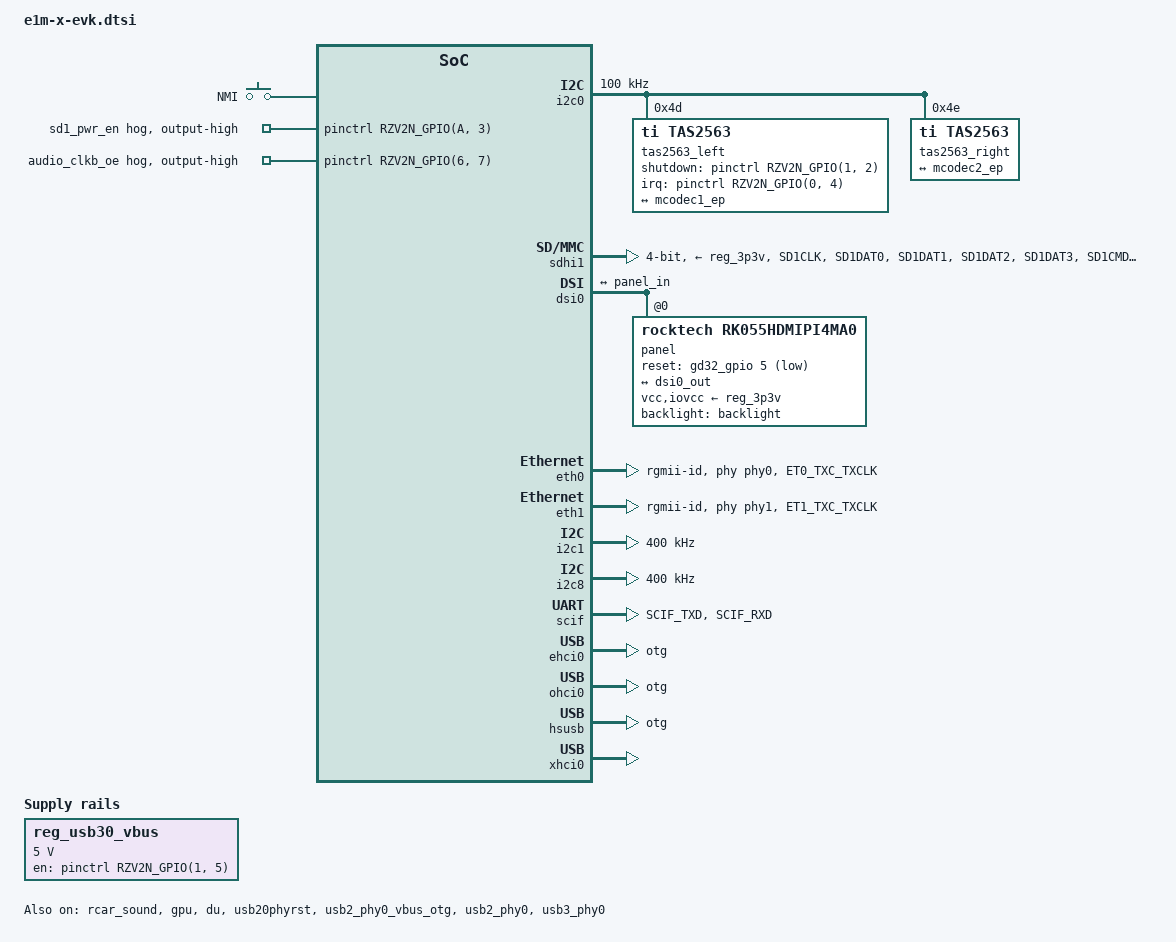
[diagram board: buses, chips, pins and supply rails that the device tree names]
// SPDX-License-Identifier: (GPL-2.0-only OR BSD-2-Clause)
/*
 * ALP E1M-X-EVK carrier (45x65) — peripherals on the baseboard.
 *
 * Composes with a SoM dtsi: a board dts includes the SoC dtsi, then the
 * SoM dtsi (e1m-v2n-som.dtsi), then this carrier dtsi. Because we build
 * up from the SoC dtsi and only ENABLE what the carrier populates, there
 * is no "disable the EVK's nodes" pile — the Renesas EVK's HDMI bridge,
 * OV5645 cameras, DA7212 codec and RAA215300 PMIC simply aren't enabled.
 *
 * Ported from the Renesas RZ/V2N EVK reference dts (kernel SHA 6717c06).
 * STATUS: UNVALIDATED through dtc/bitbake.
 *
 * TODO (carrier features to port once exercised on the bench):
 *   - Audio: LANDED below (2026-09-26) -- TAS2563 smart-amp pair on I2C0
 *     @0x4D/0x4E, fed from I2S0 (SSIU1/SSI1 + SSIU2/SSI2) through the
 *     TMUX1574 path-mux.  Carrier-side facts (addresses, channel, mux +
 *     shutdown/fault GPIOs, MCLK) are in metadata/boards/e1m-x-evk.yaml's
 *     `audio:` block.
 *
 *     The four SoC-side values the previous note called DATA-GATED are
 *     now confirmed by reading the actual linux-renesas 6.1.141-cip43
 *     kernel-source tree at the SHA this carrier was ported from
 *     (6717c06):
 *       - binding: `rcar_sound` IS correct for r9a09g056 -- SoC dtsi
 *         `compatible = "renesas,rcar_sound-r9a09g056"`, reg-names
 *         "scu"/"adg"/"ssiu"/"ssi"/"audmapp"/"spdif", node label
 *         `rcar_sound`, SSI channels `ssi0`..`ssi9` (arch/arm64/boot/dts/
 *         renesas/r9a09g056.dtsi).
 *       - PFC function: the stock Renesas RZ/V2N EVK reference dts
 *         (r9a09g056n48-rzv2n-evk.dts, same SHA) pinmuxes its own SSI3/4
 *         + AUDIO_CLKB/C pads as `RZV2N_PORT_PINMUX(port, pin, 7)`, where
 *         (port, pin) is exactly this repo's "P<port><pin>" notation
 *         (e.g. SSIU3_SSI3_SCK/P12 -> RZV2N_PORT_PINMUX(1, 2, 7); AUDIO_
 *         CLKB/P10 -> RZV2N_PORT_PINMUX(1, 0, 7) -- both confirmed
 *         against that dts verbatim). metadata/pinmux/v2n.yaml's e1m_pad
 *         "TBD" column is a separate, still-open gap (the E1M-X module
 *         edge-pad silkscreen crosswalk) -- it does not block writing
 *         kernel pinctrl, which only needs the SoC-side P<port><pin>.
 *       - MCLK source + rate: the same reference dts sets
 *         `&audio_clkb { clock-frequency = <24576000>; };` for the
 *         identical 5L35023B 24.576 MHz feed -- see
 *         metadata/boards/e1m-x-evk.yaml's `audio.mclk` note.
 *       - the SoM-preset crosswalk (metadata/e1m_modules/E1M-V2N103.yaml)
 *         already ties E1M-X logical I2S0/I2S1 to SSIU1+SSIU2 /
 *         SSIU3+SSIU4 respectively; that mapping is unchanged by this
 *         landing (its `driver_status: none` there describes the #655
 *         auto-generation pipeline, not this hand-authored node).
 *
 *     Two TAS2563 MONO amps share one physical I2S bus (one SCLK/WS/SDATA
 *     set), so the card is one audio-graph-card2 `multi` link
 *     (sound/soc/generic/audio-graph-card2.c, built in on this kernel):
 *     ONE cpu port (rcar_sound SSI2 data, SSI1 SCK/WS) fanned out to TWO codec ports in a
 *     single dai_link, so both amps get the same hw_params, format and
 *     DAPM power sequencing. Bench-verified on E1M-V2M103 (2026-09-27):
 *     both amps' PWR_CTL go software-shutdown -> active with the stream
 *     and back afterwards. Why not simple-audio-card: simple-card.c counts
 *     exactly one codec per link and parses a second `codec@N` sibling as
 *     an extra CPU node (a bogus dai_link with a NULL rtd->pcm, which
 *     oopses in dapm_connect_dai_pair()); and `aux-devs` gives the second
 *     amp no dai_link at all, so it never receives hw_params,
 *     set_tdm_slot or the DAC DAPM path.

 *     Each codec endpoint also carries `dai-tdm-slot-*`: rsnd fixes the
 *     SSI system word length at 32 bits, but the TAS2563 only learns its
 *     slot length (TDM_CFG2.RX_SLEN) from set_tdm_slot, so without it the
 *     amp decodes 16-bit slots and the right channel reads the empty low
 *     half of the left slot. The tas2562 driver rejects a zero tx mask,
 *     hence the explicit masks. Which slot an amp actually plays is the
 *     "Left/Right ASI1 Sel" mixer control (Left / Right respectively),
 *     not DT.
 *
 *     shutdown-gpios/interrupts are wired on the LEFT (U27) node only --
 *     board.yaml documents SD_N/IRQ_N as ONE shared net across both
 *     chips, not per-amp, so only one Linux consumer may claim the GPIO
 *     line. Because SD_N therefore does not reset the amps across a warm
 *     reboot, meta-alp-sdk patch 0009 makes the tas2562 driver
 *     software-reset each amp at component probe. The IRQ_N `interrupts`
 *     property documents the wiring only: the 6.1 tas2562 driver never
 *     requests an IRQ, so amp faults are not signalled to Linux.
 *
 *     I2C-address ownership (issue #2331 item 1): landing the kernel
 *     `ti,tas2563` codec nodes below means the kernel binds
 *     i2c0@0x4d/0x4e for ALSA -- the SDK's own userspace chips/tas2563
 *     driver (reachable over alp_i2c_* on this same bus) must not ALSO
 *     be wired up against this board/SoM combination, or the two would
 *     race the same registers. Resolved as a NON-FIGHTING ownership
 *     contract rather than a PACKAGECONFIG lock-out: tas2563_init()
 *     already propagates its bus call's status verbatim (#2077), so
 *     when a kernel driver holds one of these addresses,
 *     `ioctl(I2C_SLAVE)` on `/dev/i2c-0` fails `EBUSY` before any
 *     transaction is even attempted, and that surfaces as
 *     `ALP_ERR_BUSY` out of `tas2563_init()` -- see the @retval
 *     ALP_ERR_BUSY note on that function in
 *     `include/alp/chips/tas2563.h`. A future userspace-driver
 *     enablement on e1m-v2n101/e1m-v2m101 competing with this DT node
 *     gets a clear, distinct refusal rather than a silent register
 *     race or a misleading ALP_ERR_NOT_READY ("no chip present").  No
 *     live conflict today either way (this DT node is the only bound
 *     client at these addresses, and the driver does not fight it).
 *
 *     Kernel config: the mainline ASoC `tas2562` driver covers the
 *     TAS2563; CONFIG_SND_SOC_RCAR is already `=y` in this BSP's
 *     defconfig. tas2563-audio.cfg enables CONFIG_SND_SOC_TAS2562 and pins
 *     CONFIG_SND_AUDIO_GRAPH_CARD2; see tas2563-audio.cfg (re-added; the earlier copy was removed
 *     under #1171 because a codec driver with no DT consumer cannot
 *     bind -- the DT consumer now exists, below).
 *
 *     See chips/tas2563 + issues #25 (codec), #655 (DT/pinctrl
 *     generation from the SoM layer), #1171, #2331 (this landing --
 *     I2C-ownership + E1M-pad-crosswalk follow-ups).
 *   - Display 1 (J6): ported -- rk055hdmipi4ma0 panel on dsi0 (see below).
 *     Display 2 (J28) is permanently unavailable: it requires DSI1 lane
 *     set, which the V2N/V2M family does not populate.
 *     Touch (GT911 on the panel FFC): DEFERRED -- its I2C bus
 *     (DSI1_CSI_I2C) terminates on the GD32 IO-MCU bridge; Linux has no
 *     direct path until the bridge gains an I2C-master proxy.
 *   - 2x MIPI-CSI cameras (two separate, bare CSI connectors -- see
 *     docs/boards/e1m-x-evk.md's "Camera connectors" row).
 *
 *     An OPT-IN, bench-unverified IMX219 placeholder path now exists:
 *     e1m-x-evk-cam0-imx219.dtsi / docs/v2n-camera-csi.md (#1149).
 *
 *     DATA-GATED, and gated on a product decision rather than on a
 *     document.  What the carrier DOES already carry is in tree: the
 *     CAM0 control pads (metadata/boards/e1m-x-evk.yaml -> generated
 *     macros XEVK_PIN_CAM0_MUX_SEL = E1M_X_GPIO_IO16, XEVK_PIN_CAM0_EN
 *     = E1M_X_GPIO_IO18, XEVK_PIN_CAM0_RST = E1M_X_GPIO_IO20
 *     active-low), the camera-side control buses (XEVK_I2C_BUS_DSI_CSI0
 *     = E1M_X_I2C2, XEVK_I2C_BUS_DSI_CSI1 = E1M_X_I2C3), and the CRU +
 *     ISP DMA pools, which e1m-v2n-som.dtsi already reserves
 *     (isp@90000000 and cru_buffer@b4000000).
 *
 *     What is missing is four things, none of them guessable:
 *       1. The SENSOR.  No part is chosen: e1m-x-evk.yaml sets
 *          `ov5640: false` and names none, and the connectors are bare
 *          (the OV5645 pair mentioned in the header above belongs to
 *          the Renesas EVK, not to this carrier).  Without a part there
 *          is no compatible, no CCI address, no lane count, and no
 *          link-frequency -- and inventing a plausible one is how you
 *          get a node that binds to nothing.
 *       2. Which connector lands on which of the SoC's two CSI-2
 *          receivers, and on how many lanes.  The E1M-X edge connector
 *          carries FOUR CSI instances (metadata/e1m/pinout-x-v1.json,
 *          CSI0..CSI3); the RZ/V2N populates two
 *          (metadata/socs/renesas/rzv2n/n44.json, "mipi_csi2": 2).
 *          Nothing in tree maps one onto the other:
 *          metadata/pinmux/v2n.yaml carries no CSI lane row at all.
 *       3. Which rail powers which connector.  The camera LDO enables
 *          are GD32-owned, not Renesas-owned
 *          (metadata/e1m_modules/v2n/gd32-io-mcu-map.csv: CAM_EN_LDO0 =
 *          PC3, CAM_EN_LDO1 = PE8, CAM_EN_LDO2 = PE7, CAM_EN_LDO3 =
 *          PE10), so power-up is a bridge GPIO write, not a
 *          regulator-fixed node -- but the LDO-to-connector pairing is
 *          a schematic fact this repo does not carry.  CAM1_RST is
 *          likewise still TBD (e1m-x-evk.yaml's `partial_hw_config`).
 *       4. For CAM1 specifically, a Linux I2C master.  E1M-X I2C3
 *          (DSI1_CSI_I2C) terminates on the GD32 IO-MCU bridge, so a
 *          sensor whose CCI lands there cannot be configured from
 *          Linux until the bridge gains an I2C-master proxy -- the
 *          same blocker that defers GT911 touch above.
 *
 *     The Zephyr/CM33 side of this is a DIFFERENT and larger gap, not a
 *     mirror of it: upstream Zephyr v4.4.1 ships no Renesas RZ/V CSI-2
 *     receiver driver or binding at all.  Full analysis in
 *     src/backends/camera/v2n_n44_isp.c's DATA-GATED block.
 *
 *     See issue #1149.
 *   - CAN-FD (TCAN1044 x2).  DATA-GATED on the kernel side, same shape as
 *     the audio entry above.  The module bonds out two of the SoC's six
 *     controllers -- CANFD2 (CTX2 = P84, CRX2 = P85) and CANFD3
 *     (CTX3 = P86, CRX3 = P87), per
 *     metadata/e1m_modules/v2n/renesas-peripheral-map.tsv -- but this repo
 *     does not carry the linux-renesas 6.1.x r9a09g056 dtsi, so three
 *     values the nodes need are unverified here: the canfd node's label
 *     and its compatible string in that tree, the RZV2N_PORT_PINMUX
 *     function index for P84..P87 (metadata/pinmux/v2n.yaml still carries
 *     e1m_pad/e1m_function "TBD" on all four CANFD rows), and whether the
 *     BSP defconfig builds a CAN-FD driver at all.  Do not guess any of
 *     them -- read them out of the kernel tree at the SHA this port was
 *     generated against (6717c06).
 *
 *     Two facts that ARE settled and belong in the port when it lands.
 *     First, CAN_STBY is not a Renesas pad: the transceivers' standby line
 *     is owned by the GD32 IO-MCU on PB13 (metadata/pinmux/v2n.yaml,
 *     metadata/e1m_modules/v2n/gd32-io-mcu-map.tsv), so it is reached
 *     through 0005-gpio-add-gd32-bridge-expander-driver.patch's expander,
 *     not through pinctrl.  Second, CANFD2/CANFD3 are unattributed in
 *     metadata/e1m_modules/v2n/core-ownership.yaml, whose "absence means
 *     not attributed" rule means check_amp_pad_claims.py cannot see an
 *     A55-vs-CM33 conflict on these pads until whichever core claims them
 *     is recorded there.
 *
 *     The CM33 side is analysed in alp-sdk#1146 and in this board's
 *     Zephyr dts (upstream ships the RZ CAN-FD driver, but hal_renesas has
 *     no rzv FSP CAN-FD module and the RZ/V2N SoC dtsi has no node); it is
 *     blocked for different reasons, so neither core unblocks the other.
 */

#include <dt-bindings/interrupt-controller/irq.h>

/ {
	aliases {
		ethernet0 = &eth0;
		ethernet1 = &eth1;
		i2c0 = &i2c0;
		i2c1 = &i2c1;
		mmc1 = &sdhi1;
		serial0 = &scif;
	};

	chosen {
		bootargs = "ignore_loglevel";
		stdout-path = "serial0:115200n8";
	};

	gpio-keys {
		compatible = "gpio-keys";

		nmi {
			interrupt-parent = <&icu>;
			interrupts = <0 IRQ_TYPE_EDGE_FALLING>;
			linux,code = <0>;
			label = "NMI";
			wakeup-source;
		};
	};

	/* TAS2563 stereo pair (U27 left / U28 right), one shared I2S0 bus:
	 * one audio-graph-card2 `multi` link, SSI2 -> both amps. See this
	 * file's header comment for why not simple-audio-card. */
	sound_card: sound {
		compatible = "audio-graph-card2";
		label = "e1m-x-evk-tas2563";
		links = <&sound_multi_cpu>;

		multi {
			#address-cells = <1>;
			#size-cells = <0>;

			/* CPU side: port@0 is the link itself, port@1 the SSI. */
			ports@0 {
				reg = <0>;
				#address-cells = <1>;
				#size-cells = <0>;

				sound_multi_cpu: port@0 {
					reg = <0>;
					mcpu0_ep: endpoint { remote-endpoint = <&mcodec0_ep>; };
				};

				port@1 {
					reg = <1>;
					mcpu1_ep: endpoint { remote-endpoint = <&rsnd_ep>; };
				};
			};

			/* Codec side: port@0 is the link itself, then one per amp. */
			ports@1 {
				reg = <1>;
				#address-cells = <1>;
				#size-cells = <0>;

				port@0 {
					reg = <0>;
					mcodec0_ep: endpoint { remote-endpoint = <&mcpu0_ep>; };
				};

				port@1 {
					reg = <1>;
					mcodec1_ep: endpoint { remote-endpoint = <&tas2563_left_ep>; };
				};

				port@2 {
					reg = <2>;
					mcodec2_ep: endpoint { remote-endpoint = <&tas2563_right_ep>; };
				};
			};
		};
	};
};

/* MCLK reference for the ADG (Audio Digital clock Generator): the
 * on-module 5L35023B SE3 output feeds Audio_CLKB at a fixed 24.576 MHz
 * (metadata/chips/clk_5l35023b.yaml `Audio_CLKB` signal; confirmed
 * against the stock RZ/V2N EVK reference dts -- see this file's header).
 * The TAS2563 has no discrete MCLK pin; the ADG derives the SSI1/SSI2
 * bit-clock from this reference. */
&audio_clkb {
	clock-frequency = <24576000>;
};

/* SoC audio block (SCU/ADG/SSIU/SSI/AUDMAPP).
 *
 * Data direction (#2331): per the SoM + carrier netlists, SSI1's SDATA
 * (P46) reaches E1M pad AQ4 I2S0_SDI -> TMUX1574 U46 -> the TAS2563 SDOUT
 * pins (U27/U28 pin 10), and SSI2's SDATA (P47) reaches AR4 I2S0_SDO ->
 * the TAS2563 SDIN pins (pin 11). Playback therefore leaves on SSI2's
 * data line, while SCK/WS come out of SSI1 (P44/P45). The RZ/V2N SSIU can
 * do that: SSIU_SSI_MODE1.ssi2_pin{2,1,0} = 110b makes SSI1 the pin
 * master and SSI2 its slave (RZ/V2N Group Hardware Manual Additional
 * Document R01UH1072EJ0120, section 8.5.2.3.16; SSICR1.SCKD/SWSD = 1,1,
 * SSICR2.SCKD/SWSD = 0,0). The stock rsnd driver only knows SSI0 as a
 * clock parent, so meta-alp-sdk patch 0014 adds the SSI2-under-SSI1 case,
 * selected by the `alp,shared-pin-ssi1` property on &ssi2 below.
 *
 * P46 (SSI1 SDATA, the amps' SDOUT net) is deliberately NOT muxed: the
 * SoC must never drive it. There is no capture/IV-sense path in this card.
 *
 * STATUS: bench-unverified (no sound heard yet); the card is enabled
 * because playback no longer drives the SDOUT net, but the first bench
 * listen is still pending (see docs/boards/e1m-x-evk.md audio notes). */
&rcar_sound {
	pinctrl-0 = <&sound_pins>;
	pinctrl-names = "default";
	status = "okay";

	#sound-dai-cells = <1>;

	/* Clock list = the SoC dtsi's, minus clk_a (module 0xfb) and clk_c
	 * (0xfd). Audio_CLKA is the AUDIO_EXTAL/AUDIO_XTAL oscillator input and
	 * Audio_CLKC an unfed pad on this SoM/carrier: both stay at 0 Hz, and
	 * the CPG only reports CLK_ON (CPG_CLKMON_7 bits 27/29) once a clock is
	 * actually present, so rzv2h-cpg times out (-110) on the first runtime
	 * resume of the card. rsnd falls back to a null clock for a clock name
	 * that is absent (rsnd_adg_get_clkin), so dropping them is safe; the
	 * card runs from Audio_CLKB (clk_b) only. Bench-confirmed on E1M-V2M103
	 * (no -110; 2 s of 48 kHz audio plays in 2.06 s). Re-sync this list from
	 * r9a09g056.dtsi's rcar_sound node on a BSP bump. */
	clocks = <&cpg CPG_MOD 0xf5>,
		 <&cpg CPG_MOD 0x18a>,
		 <&cpg CPG_MOD 0x189>,
		 <&cpg CPG_MOD 0x188>,
		 <&cpg CPG_MOD 0x187>,
		 <&cpg CPG_MOD 0x186>,
		 <&cpg CPG_MOD 0x185>,
		 <&cpg CPG_MOD 0x184>,
		 <&cpg CPG_MOD 0x183>,
		 <&cpg CPG_MOD 0x182>,
		 <&cpg CPG_MOD 0x181>,
		 <&cpg CPG_MOD 0x180>,
		 <&cpg CPG_MOD 0xf6>,
		 <&cpg CPG_MOD 0xf7>,
		 <&cpg CPG_MOD 0x17d>,
		 <&cpg CPG_MOD 0x17c>,
		 <&cpg CPG_MOD 0x17b>,
		 <&cpg CPG_MOD 0x17a>,
		 <&cpg CPG_MOD 0x179>,
		 <&cpg CPG_MOD 0x178>,
		 <&cpg CPG_MOD 0x177>,
		 <&cpg CPG_MOD 0x176>,
		 <&cpg CPG_MOD 0x175>,
		 <&cpg CPG_MOD 0x174>,
		 <&cpg CPG_MOD 0x17e>,
		 <&cpg CPG_MOD 0x173>,
		 <&cpg CPG_MOD 0x172>,
		 <&cpg CPG_MOD 0x173>,
		 <&cpg CPG_MOD 0x172>,
		 <&cpg CPG_MOD 0x170>,
		 <&cpg CPG_MOD 0x171>,
		 <&cpg CPG_MOD 0xf8>,
		 <&cpg CPG_MOD 0xf9>,
		 <&cpg CPG_MOD 0xfc>,
		 <&cpg CPG_MOD 0xfa>,
		 <&cpg CPG_MOD 0x169>,
		 <&cpg CPG_MOD 0x168>,
		 <&cpg CPG_MOD 0x167>,
		 <&cpg CPG_MOD 0x166>,
		 <&cpg CPG_MOD 0x165>,
		 <&cpg CPG_MOD 0x164>,
		 <&cpg CPG_MOD 0x163>,
		 <&cpg CPG_MOD 0x162>,
		 <&cpg CPG_MOD 0x161>,
		 <&cpg CPG_MOD 0x160>,
		 <&cpg CPG_MOD 0xfe>,
		 <&cpg CPG_MOD 0xff>,
		 <&cpg CPG_MOD 0x100>,
		 <&cpg CPG_MOD 0x16a>,
		 <&cpg CPG_MOD 0x16b>,
		 <&cpg CPG_MOD 0x16c>;
	clock-names = "ssi-all",
		      "ssi.9",
		      "ssi.8",
		      "ssi.7",
		      "ssi.6",
		      "ssi.5",
		      "ssi.4",
		      "ssi.3",
		      "ssi.2",
		      "ssi.1",
		      "ssi.0",
		      "ssif_supply_clk",
		      "scu_clk",
		      "scu_clkx2",
		      "src.9",
		      "src.8",
		      "src.7",
		      "src.6",
		      "src.5",
		      "src.4",
		      "src.3",
		      "src.2",
		      "src.1",
		      "src.0",
		      "scu_supply_clk",
		      "mix.1",
		      "mix.0",
		      "ctu.1",
		      "ctu.0",
		      "dvc.0",
		      "dvc.1",
		      "audmac-pp",
		      "adg_clk",
		      "clk_b",
		      "clk_i",
		      "adg.ssi.9",
		      "adg.ssi.8",
		      "adg.ssi.7",
		      "adg.ssi.6",
		      "adg.ssi.5",
		      "adg.ssi.4",
		      "adg.ssi.3",
		      "adg.ssi.2",
		      "adg.ssi.1",
		      "adg.ssi.0",
		      "spdif.0",
		      "spdif.1",
		      "spdif.2",
		      "adg.spdif.0",
		      "adg.spdif.1",
		      "adg.spdif.2";

	ports {
		#address-cells = <1>;
		#size-cells = <0>;

		port@0 {
			reg = <0>;

			/* SoC is bit- and frame-clock provider (ADG from Audio_CLKB). */
			rsnd_ep: endpoint {
				remote-endpoint = <&mcpu1_ep>;
				dai-format = "i2s";
				bitclock-master;
				frame-master;
				playback = <&ssi2>;
			};
		};
	};
};

/* SSI2 plays out of P47; its SCK/WS come from SSI1 (P44/P45), see above. */
&ssi2 {
	alp,shared-pin-ssi1;
};

/* TAS2563 smart-amp pair (I2C0 @0x4D/0x4E). SD_N (shutdown) and IRQ_N
 * (fault) are ONE shared net each across both chips (board.yaml's
 * `audio.shutdown`/`audio.fault_irq`) -- wired on the LEFT node only so
 * a single Linux GPIO consumer owns each line. imon/vmon-slot-no give
 * each amp distinct SDOUT slots (I: 0/1, V: 2/3) for I-V sense telemetry
 * (ti,vmon-slot-no is read by the 6.1 driver but is not in the upstream
 * ti,tas2562 binding, so dtbs_check flags it);
 * the driver's default vmon slot is 2 for every instance, which would
 * collide. Playback slots are set on the codec endpoints (header
 * comment). */
&i2c0 {
	tas2563_left: codec@4d {
		compatible = "ti,tas2563";
		reg = <0x4d>;
		sound-name-prefix = "Left";
		#sound-dai-cells = <0>;
		/* AMP.ENABLE (\SD_N), shared -- see header comment. SSIU3_SSI3_SCK
		 * / P12 (E1M-X I2S1_SCLK repurposed as plain GPIO, not an SSI
		 * function here). */
		/* The 6.1 tas2562 driver drives shutdown-gpios to logical 1 to power the
		 * amp up (SDZ is active-low shutdown), so the line is ACTIVE_HIGH:
		 * ACTIVE_LOW held both amps in shutdown (they NACK I2C while SDZ is low). */
		shutdown-gpios = <&pinctrl RZV2N_GPIO(1, 2) GPIO_ACTIVE_HIGH>;
		/* AMP.FAULT (IRQ_N), shared -- see header comment. SSIU3_SSI3_
		 * SDATA / P04, pad AR10 (E1M-X I2S1_SDI repurposed as plain GPIO;
		 * NOT P15, which is I2S1_SDO). */
		interrupt-parent = <&pinctrl>;
		interrupts = <RZV2N_GPIO(0, 4) IRQ_TYPE_EDGE_FALLING>;
		ti,imon-slot-no = <0>;
		ti,vmon-slot-no = <2>;

		port {
			/* 2 x 32-bit slots to match rsnd's fixed 32-bit SSI word;
			 * see this file's header comment. */
			tas2563_left_ep: endpoint {
				remote-endpoint = <&mcodec1_ep>;
				dai-tdm-slot-num = <2>;
				dai-tdm-slot-width = <32>;
				dai-tdm-slot-tx-mask = <1 1>;
				dai-tdm-slot-rx-mask = <1 1>;
			};
		};
	};

	tas2563_right: codec@4e {
		compatible = "ti,tas2563";
		reg = <0x4e>;
		sound-name-prefix = "Right";
		#sound-dai-cells = <0>;
		ti,imon-slot-no = <1>;
		ti,vmon-slot-no = <3>;

		port {
			tas2563_right_ep: endpoint {
				remote-endpoint = <&mcodec2_ep>;
				dai-tdm-slot-num = <2>;
				dai-tdm-slot-width = <32>;
				dai-tdm-slot-tx-mask = <1 1>;
				dai-tdm-slot-rx-mask = <1 1>;
			};
		};
	};
};

&qextal_clk {
	clock-frequency = <24000000>;
};

/* RTXIN/rtc_clk/&rtc are intentionally left untouched here: the SoC
 * RTC is enabled and rtc_clk fixed at 32.768 kHz at the SoM layer
 * (e1m-v2n-som.dtsi, which composes before this carrier dtsi) -- do not
 * add an &rtc/&rtc_clk override here, it would silently fight that
 * setting. RTXIN has no discrete 32.768 kHz crystal; it is fed by SE1
 * of the on-module 5L35023B clock generator instead, corrected from
 * its as-shipped 24.576 MHz by U-Boot on every boot (see
 * e1m-v2n-som.dtsi's own comment and the meta-alp-sdk u-boot 0007
 * patch). The on-module RV-3028-C7 remains the RTC of record (rtc0
 * alias) -- the SoC RTC is a second, SoC-internal timebase, not a
 * replacement. Per this file's own convention ("only ENABLE what the
 * carrier populates"), a carrier has nothing to enable here either
 * way. */

/* Carrier microSD slot (SDHI1). The bench dev image roots from this card
 * (root=/dev/mmcblk1p2); on-module eMMC (SDHI0) is the production boot.
 *
 * cd-gpios: SD1_SD1CD/PA1 runs straight to the socket's card-detect
 * switch to GND (not through the carrier SDIO mux), pulled up to the
 * switched card rail. Active-low: 0 = card present.
 *
 * vqmmc: vqmmc_sdhi1 (e1m-v2n-som.dtsi) switches the SD1 IO rail to
 * 1.8 V for UHS. The SD1 pads run at output-impedance 2, one step weaker
 * than the eMMC: at 3 (strongest) SDR104 through the carrier SDIO mux
 * fails the data phase with CRC errors (-84); at 2 it is clean.
 *
 * Capped at SDR50 (100 MHz, 1.8 V), no sd-uhs-sdr104: SDR104 reads are
 * fine (~85 MB/s), but host-to-card writes at 208 MHz never complete --
 * "mmc1: Card stuck being busy!" with 4 KiB requests, a hung request with
 * 256 KiB ones (#2357). Tuning only calibrates the host's read sampling,
 * not its outgoing data. SDR50 writes 512 MiB in 20 s (E1M-V2M103, bench
 * 2026-09-27, with kernel patch 0010).
 *
 * vmmc: card power (PA3/SD1_SD1PWEN) is an always-on hog, not a
 * regulator the MMC core may switch off. The card-detect pull-up sits on
 * that same switched rail, so cutting card power would make an empty
 * slot read as "card present".
 *
 * SDCARD_RST (PA4) is not a microSD signal: it is the M.2 E-key Wi-Fi
 * SDIO reset carried through the carrier SDIO mux, so it is left
 * undriven here.
 *
 * The carrier SDIO mux (TMUX1574 U38/U39) selects microSD vs M.2 Wi-Fi
 * SDIO. On the E1M-X EVK V2 its SEL (MUX_SEL.SDIO) is not a GPIO: R239
 * (100k) pulls it low (= microSD) and header P6 ties it to +3V3 (= M.2);
 * E1M IO27 is unconnected. Its active-low EN (SD_MUX_EN) is E1M IO29,
 * with no external pull-down. See docs/boards/e1m-x-evk.md. */
&sdhi1 {
	pinctrl-0 = <&sdhi1_pins>;
	pinctrl-1 = <&sdhi1_pins>;
	pinctrl-names = "default", "state_uhs";
	vmmc-supply = <&reg_3p3v>;
	vqmmc-supply = <&vqmmc_sdhi1>;
	bus-width = <4>;
	sd-uhs-sdr50;
	cd-gpios = <&pinctrl RZV2N_GPIO(A, 1) GPIO_ACTIVE_LOW>;
	/* The RZ/V2N ICU has no both-edge TINT mode, so the card-detect GPIO
	 * cannot be an interrupt (the MMC core asks for both edges and the request
	 * failed with "Setting trigger mode 3 ... failed"). broken-cd sets
	 * MMC_CAP_NEEDS_POLL: no interrupt is requested and the core polls the
	 * cd-gpios line about once a second, so insertion and removal are still
	 * detected within about a second. */
	broken-cd;
	status = "okay";
};

&gpu {
	status = "okay";
	mali-supply = <&reg_0p8v>;
};

/* Display 1 (J6): RK055HDMIPI4MA0 720x1280 MIPI-DSI panel.
 * The V2N's single DSI feeds the connector DSI0 lane set -> J6 directly
 * (no bridge/mux on this carrier). Display 2 (J28) sits on the DSI1
 * lane set, which the V2N family does not populate -- permanently
 * unavailable on V2N/V2M.
 * Panel rails are always-on; VIO is modeled here as the carrier's
 * default 3V3 setting. LCD1_PWR_EN (IO15) is pulled high on the carrier
 * and IO15 is unrouted on V2N -- no power GPIO needed. Panel reset =
 * E1M-X IO13 via bridge GPIO line 5.
 * Touch (GT911 on the panel FFC) is NOT wired here: its bus
 * (DSI1_CSI_I2C = E1M-X I2C3) has no Linux master today, so Linux has
 * no path to it until
 * the bridge gains an I2C-master proxy. Tracked as a follow-up; the
 * goodix polled-mode patch already ships dormant for that stack.
 */
&du {
	status = "okay";
};

&dsi0 {
	#address-cells = <1>;
	#size-cells = <0>;
	status = "okay";

	panel@0 {
		compatible = "rocktech,rk055hdmipi4ma0";
		reg = <0>;
		reset-gpios = <&gd32_gpio 5 GPIO_ACTIVE_LOW>;
		vcc-supply = <&reg_3p3v>;
		iovcc-supply = <&reg_3p3v>;
		backlight = <&backlight>;

		port {
			panel_in: endpoint {
				remote-endpoint = <&dsi0_out>;
			};
		};
	};

	/* port@1 merges with the SoC dtsi's existing dsi0/ports/port@1
	 * node (which carries the dsi0_out label).  The label is NOT
	 * re-declared here to avoid a duplicate-label dtc error; the
	 * panel_in remote-endpoint above resolves via the SoC label. */
	ports {
		port@1 {
			endpoint {
				remote-endpoint = <&panel_in>;
				data-lanes = <1 2>;
			};
		};
	};
};

/* Dual GbE — MACs on the carrier RJ45s; PHYs are on-module (SoM dtsi). */
&eth0 {
	pinctrl-0 = <&eth0_pins>;
	pinctrl-names = "default";
	phy-handle = <&phy0>;
	phy-mode = "rgmii-id";
	status = "okay";
};

&eth1 {
	pinctrl-0 = <&eth1_pins>;
	pinctrl-names = "default";
	phy-handle = <&phy1>;
	phy-mode = "rgmii-id";
	status = "okay";
};

&i2c0 {
	pinctrl-0 = <&i2c0_pins>;
	pinctrl-names = "default";
	/* 100 kHz: on-module EEPROM bus on internal pull-ups (weak ~50k). */
	clock-frequency = <100000>;
	status = "okay";
};

&i2c1 {
	pinctrl-0 = <&i2c1_pins>;
	pinctrl-names = "default";
	clock-frequency = <400000>;
	status = "okay";
};

/* No &i2c6/&i2c7: P44-P47 are the E1M_X_I2S0 pads (SSIU1_SSI1 SCK/WS/SDATA +
 * SSIU2_SSI2_SDATA, function 7, renesas-peripheral-map.csv:112-115) wired to the
 * TAS2563 pair through the carrier's TMUX1574. RZ/V2N has no RIIC6/RIIC7 on those
 * pins in this SoM's pin map, and nothing on the carrier sits on them. */

&i2c8 {
	pinctrl-0 = <&i2c8_pins>;
	pinctrl-names = "default";
	clock-frequency = <400000>;
	status = "okay";
};

&scif {
	pinctrl-0 = <&scif_pins>;
	pinctrl-names = "default";
	status = "okay";
};

/* USB 2.0 host (OTG) + USB 3.0.  The carrier's OVC sense wiring is not
 * usable (errata E3).  P9.6 (usb20) can no longer be parked as a GPIO:
 * it is SCK7 of the CM33-owned GD32 supervisor SPI, and the CM33 is
 * started by BL2 PRE-Linux -- so the old hog actually clobbered the
 * live SCK7 mux at every Linux boot (~1.9 s, PMC9 byte-RMW; same
 * clobber class as SD1_CD below) until the CM33's own pin re-init took
 * the pad back, which is also why usb20 OVC suppression was lost.  The
 * usb20 channel is instead suppressed at the controller: spurious-oc on
 * the EHCI (generic binding, in-tree) and on the OHCI (kernel patch
 * 0003 adds the same property).  OC processing is fully off for usb20
 * -- correct here because VBUS is hardwired always-on with no per-port
 * switching to protect.
 *
 * usb30 has no VBUS pinmux and no OVC-disable GPIO hog: PB0 (VBUS,
 * func14) and PB1 (usb30 OVC) are on-module WLAN_SDIO.CLK and
 * WLAN_SDIO.D0 (e1m-v2n-som.dtsi's sd2_wlan_pins, &sdhi2) -- on-module
 * nets that never reach the E1M connector, so this carrier cannot claim
 * either pin. The old usb30_pins/hog pair was copied from the Renesas
 * EVK reference dts without checking the ALP module's netlist. usb30 OC
 * processing is left at its EHCI/xHCI default (not yet suppressed at
 * the controller); BENCH TODO: verify xHCI reports no spurious
 * over-current with PB1 now muxed as SD2DAT0 instead of a parked GPIO
 * input -- if it does, suppress usb30 OC at the controller the same way
 * usb20 is suppressed above. */
&ehci0 {
	memory-region = <&global_cma>;
	dr_mode = "otg";
	spurious-oc;
	status = "okay";
};

&ohci0 {
	memory-region = <&global_cma>;
	dr_mode = "otg";
	spurious-oc;
	status = "okay";
};

&hsusb {
	dr_mode = "otg";
	status = "okay";
};

&usb20phyrst {
	status = "okay";
};

&usb2_phy0_vbus_otg {
	status = "okay";
};

&usb2_phy0 {
	/* USB2.0 VBUS is always-on (hardwired) on the E1M-X carrier, so no
	 * VBUS GPIO/pinmux is needed. The old usb20_pins hogged P95 (func 14),
	 * which is the DEEPX PCIe mux-sel on V2M and MUST stay a GPIO (U-Boot
	 * drives it; no Linux hog or pinctrl claim). Dropped. */
	vbus-supply = <&usb2_phy0_vbus_otg>;
	status = "okay";
};

/* USB 3.0 Type-A host VBUS: a carrier power switch whose enable net is
 * USB30_VBUSEN = E1M-X pad AQ10 (I2S1_SDO) = RZ/V2N P15 (SSIU4_SSI4_SDATA,
 * metadata/e1m_modules/v2n/renesas-peripheral-map.tsv).  Bench-proven
 * 2026-10-01: with P15 unclaimed the port is unpowered and nothing
 * enumerates; driving it high enumerates a stick on xhci.  Nothing else in
 * the carrier/SoM/DEEPX dtsi claims P15 (the TAS2563 pair uses P12 and P04
 * from the same I2S1 group).
 *
 * The 6.1 renesas usb3 PHY (phy-rz-usb3.c) and rzv2h xHCI driver consume no
 * vbus supply, so there is no phy/xhci property to hang this on: the
 * regulator is regulator-always-on + regulator-boot-on, which makes the
 * regulator core drive the GPIO high at boot.  No OVC feedback is wired
 * (see the usb30 note above).  The USB 2.0 VBUS enable (USB20_VBUSEN, pad
 * AQ11 / P13) feeds an unused switch output on this carrier and is left
 * alone. */
/ {
	reg_usb30_vbus: regulator-usb30-vbus {
		compatible = "regulator-fixed";
		regulator-name = "usb30-vbus";
		regulator-min-microvolt = <5000000>;
		regulator-max-microvolt = <5000000>;
		gpios = <&pinctrl RZV2N_GPIO(1, 5) GPIO_ACTIVE_HIGH>;
		enable-active-high;
		regulator-always-on;
		regulator-boot-on;
	};
};

&usb3_phy0 {	status = "okay";
};

&xhci0 {
	memory-region = <&global_cma>;
	status = "okay";
};

&pinctrl {
	eth0_pins: eth0 {
		pins = "ET0_TXC_TXCLK";
		output-enable;
	};

	eth1_pins: eth1 {
		pins = "ET1_TXC_TXCLK";
		output-enable;
	};

	/* Unlike the Renesas EVK (external pull-ups on RIIC0/1), external
	 * pull-up population on this ALP module for RIIC0 (on-module EEPROM
	 * bus) or RIIC1 is TBD -- not yet confirmed against the
	 * schematic/BOM. RIIC8 (BRD_I2C) IS populated: external 2.2 kOhm
	 * pull-ups to the 1.8 V rail are fitted, confirmed on the same
	 * bench pass that root-caused the arbitration-lost failure below.
	 * Enable the SoC internal pull-ups on all three regardless, so
	 * SCL/SDA idle high even where population is unconfirmed.
	 * For RIIC8/BRD_I2C the internal pull-up was bench-confirmed
	 * required at the unpatched (faster) RIIC8 clock (E1M-V2M103,
	 * U-Boot bcf29d98) -- without it, reads failed with
	 * arbitration-lost (ICSR2 AL) on the very first read, the external
	 * pull-ups above notwithstanding. It is carried alongside the
	 * slower CKS(5) clock now shipped for RIIC8 rather than re-tested
	 * for necessity at that clock. A slower RIIC8 SCL is separately
	 * required for burst reads on this same bus (loaded with ~13
	 * populated branches): see the matching U-Boot fix,
	 * meta-alp-sdk/recipes-bsp/u-boot/u-boot/
	 * 0006-rzv2n-dev-i2c-rzg2l_riic-p06-p07-pullup-clock-fix.patch, and
	 * changelog.d/2045-v2m-deepx-rail-uboot.md for the bench matrix. */
	i2c0_pins: i2c0 {
		pinmux = <RZV2N_PORT_PINMUX(3, 0, 1)>, /* I2C0_SDA */
			 <RZV2N_PORT_PINMUX(3, 1, 1)>; /* I2C0_SCL */
		bias-pull-up;
	};

	i2c1_pins: i2c1 {
		pinmux = <RZV2N_PORT_PINMUX(3, 2, 1)>, /* I2C1_SDA */
			 <RZV2N_PORT_PINMUX(3, 3, 1)>; /* I2C1_SCL */
		bias-pull-up;
	};

	i2c8_pins: i2c8 {
		pinmux = <RZV2N_PORT_PINMUX(0, 6, 1)>, /* I2C8_SDA */
			 <RZV2N_PORT_PINMUX(0, 7, 1)>; /* I2C8_SCL */
		bias-pull-up;
	};

	scif_pins: scif {
		pins = "SCIF_TXD", "SCIF_RXD";
		renesas,output-impedance = <1>;
	};

	/* Audio: I2S0 (SSIU1 SCK/WS/SDATA) -> TAS2563 pair via the TMUX1574
	 * path-mux, + Audio_CLKB (the 5L35023B SE3 24.576 MHz reference into
	 * the ADG). One wrapper node with labeled leaf sub-nodes, referenced
	 * as a single phandle from &rcar_sound's pinctrl-0 -- same shape as
	 * this SoC's own stock RZ/V2N EVK reference dts `sound_pins` node.
	 * Function 7 + P<port><pin> confirmed against that reference dts's
	 * SSI3/4 + AUDIO_CLK pinctrl entries (RZV2N_PORT_PINMUX(port, pin,
	 * 7)) -- see this file's header comment. SSI1's own SDATA (P46) is
	 * left unclaimed on purpose (it is the amps' SDOUT net); playback
	 * uses SSI2's SDATA (P47). See &rcar_sound's comment. */
	sound_pins: sound {
		ssi1_pins: ssi1 { /* SCK/WS from SSI1, data from SSI2 */
			pinmux = <RZV2N_PORT_PINMUX(4, 4, 7)>, /* SSIU1_SSI1_SCK */
				 <RZV2N_PORT_PINMUX(4, 5, 7)>, /* SSIU1_SSI1_WS */
				 <RZV2N_PORT_PINMUX(4, 7, 7)>; /* SSIU2_SSI2_SDATA */
		};

		audio_clkb_pins: audio_clkb {
			pinmux = <RZV2N_PORT_PINMUX(1, 0, 7)>; /* AUDIO_CLKB */
		};
	};

	/* SD1 CLK/CMD/DAT need explicit dedicated-pin config, same as SDHI0
	 * eMMC in e1m-v2n-som.dtsi's sdhi0_emmc_pins -- pinctrl-rzg2l has no
	 * default mapping for dedicated balls without one. Names + bank/pin
	 * per the kernel's pinctrl-rzg2l.c r9a09g056 dedicated-pin table:
	 * SD1CLK (0xb/0), SD1CMD (0xb/1), SD1DAT0-3 (0xc/0-3).
	 *
	 * SD1_CD needs no pin entry: PA1 is read as a plain GPIO through
	 * &sdhi1's cd-gpios. */
	sdhi1_pins: sd1 {
		sd1-clk {
			pins = "SD1CLK";
			renesas,output-impedance = <2>;
			slew-rate = <0>;
		};

		sd1-dat-cmd {
			pins = "SD1DAT0", "SD1DAT1", "SD1DAT2", "SD1DAT3", "SD1CMD";
			input-enable;
			renesas,output-impedance = <2>;
			slew-rate = <0>;
		};
	};

	/* microSD slot power enable (PA3/SD1_SD1PWEN). Always-on by design,
	 * not a placeholder for a PWEN-gated regulator: SD1_CD's pull-up
	 * sits on this same switched rail (see &sdhi1's comment above), so
	 * gating it off from the MMC core would read an absent card as
	 * present whenever power is off. */
	sd1-pwr-en-hog {
		gpio-hog;
		gpios = <RZV2N_GPIO(A, 3) GPIO_ACTIVE_HIGH>;
		output-high;
		line-name = "sd1_pwr_en";
	};

	/* No usb20 (USB2.0 VBUS) pinmux: VBUS is always-on (hardwired) on this
	 * carrier, and P95 is the DEEPX PCIe mux-sel on V2M (kept as GPIO).
	 *
	 * No usb30 pinmux or OVC-disable hog either: PB0 (VBUS, func14) and
	 * PB1 (usb30 OVC) are the on-module WLAN_SDIO.CLK and WLAN_SDIO.D0
	 * nets (see &xhci0's comment above) -- they never reach this
	 * carrier's E1M connector, so no carrier-level pinctrl group may
	 * claim them. */

	/* Audio_CLKB_OE (P67): host-driven output-enable for the on-module
	 * 5L35023B's Audio_CLKB. metadata/chips/clk_5l35023b.yaml: "OTP
	 * defaults + the Audio_CLKB_OE GPIO... cover normal operation -- no
	 * [I2C control] master access [needed]" -- an always-on hog is
	 * sufficient; there is no runtime gating requirement to build a
	 * driver for. */
	audio-clkb-oe-hog {
		gpio-hog;
		gpios = <RZV2N_GPIO(6, 7) GPIO_ACTIVE_HIGH>;
		output-high;
		line-name = "audio_clkb_oe";
	};
};
